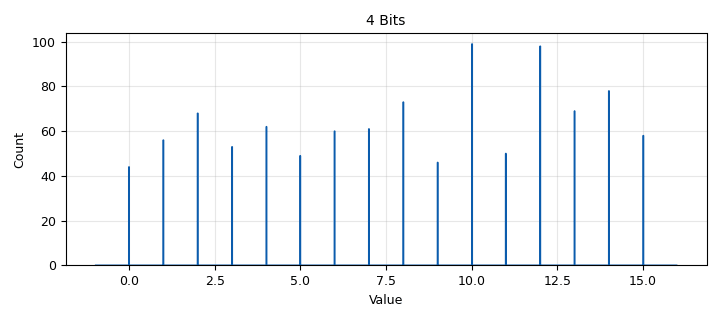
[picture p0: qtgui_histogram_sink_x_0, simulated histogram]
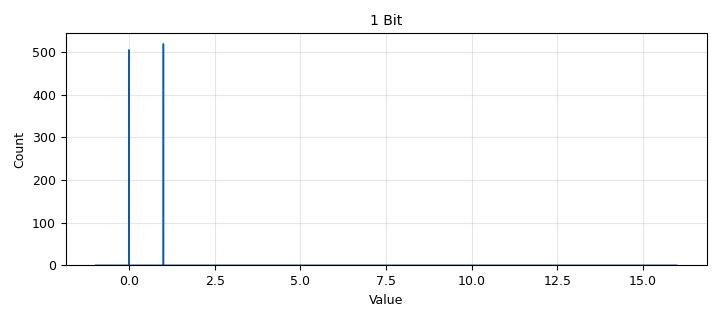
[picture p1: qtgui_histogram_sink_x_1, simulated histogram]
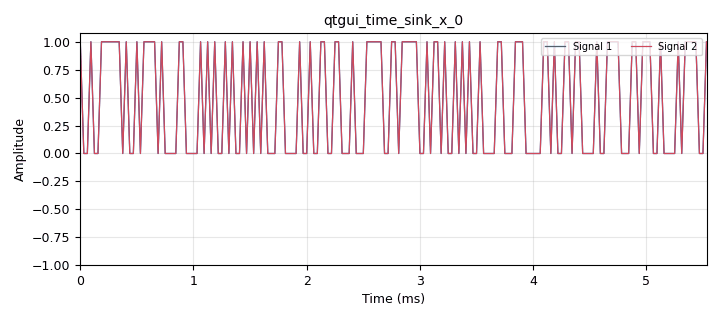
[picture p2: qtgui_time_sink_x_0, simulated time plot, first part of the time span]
options:
  parameters:
    generate_options: qt_gui
    id: packbits
    output_language: python
    title: Pack Bits Flowgraph
  states: {}

blocks:
- name: samp_rate
  id: variable
  parameters:
    value: '32000'
  states: {}
- name: analog_random_source_x_0
  id: analog_random_source_x
  parameters:
    max: '2'
    min: '0'
    num_samps: '1000'
    repeat: 'True'
    type: byte
  states: {}
- name: blocks_char_to_float_0
  id: blocks_char_to_float
  parameters:
    scale: '1'
  states: {}
- name: blocks_char_to_float_1
  id: blocks_char_to_float
  parameters:
    scale: '1'
  states: {}
- name: blocks_char_to_float_2
  id: blocks_char_to_float
  parameters:
    scale: '1'
  states: {}
- name: blocks_pack_k_bits_bb_0
  id: blocks_pack_k_bits_bb
  parameters:
    k: '4'
  states: {}
- name: blocks_throttle_0
  id: blocks_throttle
  parameters:
    samples_per_second: samp_rate
    type: byte
  states: {}
- name: blocks_unpack_k_bits_bb_0
  id: blocks_unpack_k_bits_bb
  parameters:
    k: '4'
  states: {}
- name: qtgui_histogram_sink_x_0
  id: qtgui_histogram_sink_x
  parameters:
    bins: '1024'
    name: 4 Bits
    size: '1024'
    type: float
    xmax: '16'
    xmin: '-1'
  states: {}
- name: qtgui_histogram_sink_x_1
  id: qtgui_histogram_sink_x
  parameters:
    bins: '1024'
    name: 1 Bit
    size: '1024'
    type: float
    xmax: '16'
    xmin: '-1'
  states: {}
- name: qtgui_time_sink_x_0
  id: qtgui_time_sink_x
  parameters:
    nconnections: '2'
    size: '1024'
    srate: samp_rate
    type: float
  states: {}

connections:
- [analog_random_source_x_0, '0', blocks_throttle_0, '0']
- [blocks_char_to_float_0, '0', qtgui_histogram_sink_x_0, '0']
- [blocks_char_to_float_1, '0', qtgui_histogram_sink_x_1, '0']
- [blocks_char_to_float_1, '0', qtgui_time_sink_x_0, '0']
- [blocks_char_to_float_2, '0', qtgui_time_sink_x_0, '1']
- [blocks_pack_k_bits_bb_0, '0', blocks_char_to_float_0, '0']
- [blocks_pack_k_bits_bb_0, '0', blocks_unpack_k_bits_bb_0, '0']
- [blocks_throttle_0, '0', blocks_char_to_float_2, '0']
- [blocks_throttle_0, '0', blocks_pack_k_bits_bb_0, '0']
- [blocks_unpack_k_bits_bb_0, '0', blocks_char_to_float_1, '0']

metadata:
  file_format: 1
  grc_version: 3.10.4.0
